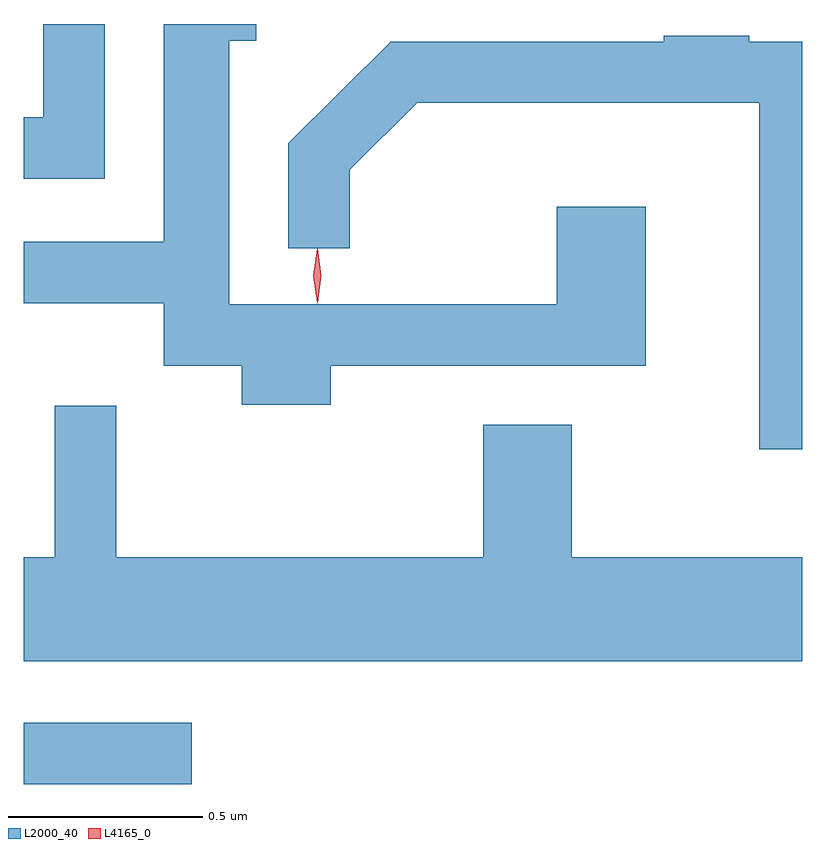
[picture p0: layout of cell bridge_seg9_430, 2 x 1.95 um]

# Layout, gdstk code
import gdstk
lib = gdstk.Library(unit=1e-6, precision=1e-09)
def R(c, l, rs):  # rectangles x0, y0, x1, y1
    for r in rs: c.add(gdstk.rectangle(r[:2], r[2:], *l))
def P(c, l, *ps):  # polygons
    for p in ps: c.add(gdstk.Polygon(p, *l))
L2000_40 = (2000, 40)
L4165_0 = (4165, 0)

bridge_seg9_430 = lib.new_cell('bridge_seg9_430')
R(bridge_seg9_430, L2000_40, [(465.741,2022.581,466.173,2022.739)])
P(bridge_seg9_430, L2000_40, [(466.529,2023.656),(467.339,2023.656),(467.339,2024.064),(467.111,2024.064),(467.111,2023.814),(466.269,2023.814),(466.269,2024.491),(466.338,2024.491),(466.338,2024.534),(466.101,2024.534),(466.101,2023.974),(465.741,2023.974),(465.741,2023.816),(466.101,2023.816),(466.101,2023.656),(466.301,2023.656),(466.301,2023.556),(466.529,2023.556)],
  [(465.949,2024.534),(465.791,2024.534),(465.791,2024.294),(465.741,2024.294),(465.741,2024.136),(465.949,2024.136)],
  [(467.741,2024.489),(467.605,2024.489),(467.605,2024.504),(467.385,2024.504),(467.385,2024.489),(466.684,2024.489),(466.421,2024.227),(466.421,2023.958),(466.579,2023.958),(466.579,2024.159),(466.752,2024.331),(467.631,2024.331),(467.631,2023.441),(467.741,2023.441)],
  [(467.741,2023.164),(467.149,2023.164),(467.149,2023.504),(466.921,2023.504),(466.921,2023.164),(465.979,2023.164),(465.979,2023.553),(465.821,2023.553),(465.821,2023.164),(465.741,2023.164),(465.741,2022.896),(467.741,2022.896)])
P(bridge_seg9_430, L4165_0, [(466.495,2023.817),(466.495,2023.818),(466.485,2023.887),(466.495,2023.956),(466.495,2023.957),(466.496,2023.956),(466.505,2023.887),(466.496,2023.818)])

lib.write_gds('bridge_seg9_430.gds')
